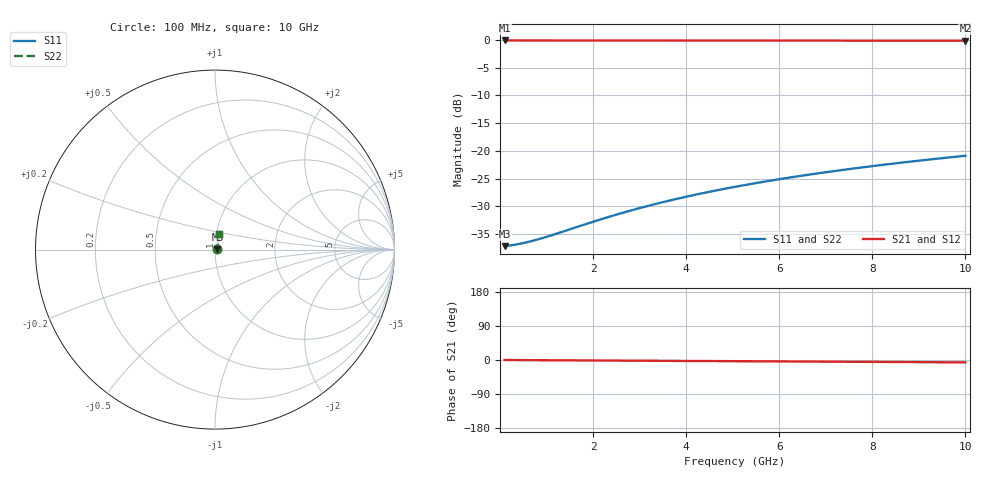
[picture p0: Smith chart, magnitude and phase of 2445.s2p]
# Hz S RI R 50.00
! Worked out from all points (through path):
!   100 points, 100 MHz to 10 GHz, reference 50 ohm
!   highest |S21| = -0.12 dB at 100 MHz (marker M1); lowest = -0.2 dB at 10 GHz (marker M2)
!   lowest |S11| = -37.2 dB at 100 MHz (marker M3), VSWR 1.03, Z = 51.4 + j0.0902 ohm
!   |S11| at or under -10 dB: start of sweep to end of sweep
!   |S22| runs from -37.2 to -20.9 dB; largest |S21 - S12| = 0
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1e8  0.0138 0.000877  0.9862 -0.00107  0.9862 -0.00107  0.0138 0.000877
3e8  0.014 0.00263  0.986 -0.00322  0.986 -0.00322  0.014 0.00263
4e8  0.014 0.00351  0.986 -0.00429  0.986 -0.00429  0.014 0.00351
5e8  0.0141 0.00438  0.9859 -0.00537  0.9859 -0.00537  0.0141 0.00438
7e8  0.0142 0.00614  0.9858 -0.00751  0.9858 -0.00751  0.0142 0.00614
9e8  0.0143 0.00789  0.9857 -0.00966  0.9857 -0.00966  0.0143 0.00789
1.1e9  0.0143 0.00964  0.9857 -0.0118  0.9857 -0.0118  0.0143 0.00964
1.8e9  0.0147 0.0158  0.9853 -0.0193  0.9853 -0.0193  0.0147 0.0158
2.2e9  0.0149 0.0193  0.9851 -0.0236  0.9851 -0.0236  0.0149 0.0193
2.6e9  0.0151 0.0228  0.9849 -0.0279  0.9849 -0.0279  0.0151 0.0228
3e9  0.0154 0.0263  0.9846 -0.0322  0.9846 -0.0322  0.0154 0.0263
3.4e9  0.0157 0.0297  0.9843 -0.0364  0.9843 -0.0364  0.0157 0.0297
3.8e9  0.016 0.0332  0.984 -0.0407  0.984 -0.0407  0.016 0.0332
4.2e9  0.0163 0.0367  0.9836 -0.045  0.9836 -0.045  0.0163 0.0367
4.6e9  0.0167 0.0402  0.9832 -0.0493  0.9832 -0.0493  0.0167 0.0402
5.1e9  0.0172 0.0445  0.9827 -0.0546  0.9827 -0.0546  0.0172 0.0445
5.9e9  0.0181 0.0515  0.9818 -0.0631  0.9818 -0.0631  0.0181 0.0515
6.7e9  0.0191 0.0584  0.9808 -0.0716  0.9808 -0.0716  0.0191 0.0584
7.5e9  0.0202 0.0653  0.9796 -0.0801  0.9796 -0.0801  0.0202 0.0653
8.4e9  0.0217 0.073  0.9782 -0.0896  0.9782 -0.0896  0.0217 0.073
9.2e9  0.023 0.0799  0.9768 -0.0981  0.9768 -0.0981  0.023 0.0799
1e10  0.0245 0.0867  0.9752 -0.1065  0.9752 -0.1065  0.0245 0.0867
